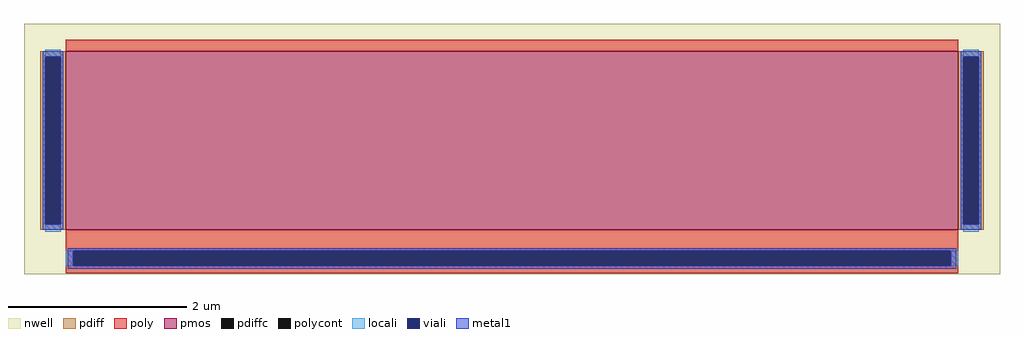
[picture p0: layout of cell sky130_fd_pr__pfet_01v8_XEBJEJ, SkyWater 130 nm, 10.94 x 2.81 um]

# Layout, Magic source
magic
tech sky130A
magscale 1 2
<< nwell >>
rect -1094 -264 1094 298
<< pmos >>
rect -1000 -164 1000 236
<< pdiff >>
rect -1058 224 -1000 236
rect -1058 -152 -1046 224
rect -1012 -152 -1000 224
rect -1058 -164 -1000 -152
rect 1000 224 1058 236
rect 1000 -152 1012 224
rect 1046 -152 1058 224
rect 1000 -164 1058 -152
<< pdiffc >>
rect -1046 -152 -1012 224
rect 1012 -152 1046 224
<< poly >>
rect -1000 236 1000 262
rect -1000 -211 1000 -164
rect -1000 -245 -984 -211
rect 984 -245 1000 -211
rect -1000 -261 1000 -245
<< polycont >>
rect -984 -245 984 -211
<< locali >>
rect -1046 224 -1012 240
rect -1046 -168 -1012 -152
rect 1012 224 1046 240
rect 1012 -168 1046 -152
rect -1000 -245 -984 -211
rect 984 -245 1000 -211
<< viali >>
rect -1046 -152 -1012 224
rect 1012 -152 1046 224
rect -984 -245 984 -211
<< metal1 >>
rect -1052 224 -1006 236
rect -1052 -152 -1046 224
rect -1012 -152 -1006 224
rect -1052 -164 -1006 -152
rect 1006 224 1052 236
rect 1006 -152 1012 224
rect 1046 -152 1052 224
rect 1006 -164 1052 -152
rect -996 -211 996 -205
rect -996 -245 -984 -211
rect 984 -245 996 -211
rect -996 -251 996 -245
<< properties >>
string gencell sky130_fd_pr__pfet_01v8
string library sky130
string parameters w 2 l 10 m 1 nf 1 diffcov 100 polycov 100 guard 0 glc 0 grc 0 gtc 0 gbc 0 tbcov 100 rlcov 100 topc 0 botc 1 poverlap 0 doverlap 1 lmin 0.15 wmin 0.42 compatible {sky130_fd_pr__pfet_01v8  sky130_fd_pr__pfet_01v8_lvt sky130_fd_pr__pfet_01v8_hvt  sky130_fd_pr__pfet_g5v0d10v5} full_metal 0 viasrc 100 viadrn 100 viagate 100 viagb 0 viagr 0 viagl 0 viagt 0
<< end >>
